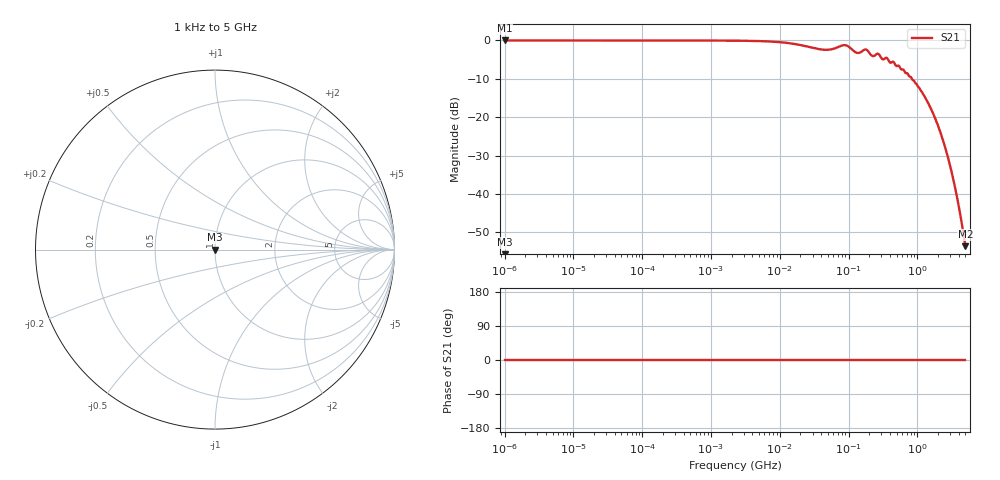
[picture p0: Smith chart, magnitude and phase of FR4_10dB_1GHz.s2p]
! S21 from CSV: mag[dB], phase[deg]; S11=S12=S22=0 (placeholder).
! Edit the script if you need reciprocity or measured S11/S22.
! Auto-generated from 1GHZ_10dB.csv
# Hz S RI R 50
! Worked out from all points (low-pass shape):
!   500 points, 1 kHz to 5 GHz, reference 50 ohm
!   highest |S21| = 0.00 dB at 1 kHz (marker M1); lowest = -53.6 dB at 5 GHz (marker M2)
!   |S21| within 3 dB of the highest: start of sweep to 124.7 MHz; 152 MHz to 196.4 MHz (44.42 MHz wide, 25.5 % of centre)
!   lowest |S11| = - dB at 1 kHz (marker M3), VSWR 1.00, Z = 50 + j0 ohm
!   |S11| at or under -10 dB: start of sweep to end of sweep
!   S12 and S22 are empty: the file has one direction only
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1000  0 0  1 0  0 0  0 0
13417.8  0 0  0.9999 0  0 0  0 0
174558  0 0  0.9993 0  0 0  0 0
2270900  0 0  0.9931 0  0 0  0 0
1.00135e7  0 0  0.9502 0  0 0  0 0
2.9543e7  0 0  0.805 0  0 0  0 0
5.15349e7  0 0  0.757 0  0 0  0 0
8.98974e7  0 0  0.8673 0  0 0  0 0
1.3027e8  0 0  0.6939 0  0 0  0 0
1.77457e8  0 0  0.7627 0  0 0  0 0
2.20326e8  0 0  0.6302 0  0 0  0 0
2.65225e8  0 0  0.6732 0  0 0  0 0
3.09556e8  0 0  0.5721 0  0 0  0 0
3.84337e8  0 0  0.5437 0  0 0  0 0
5.56942e8  0 0  0.4485 0  0 0  0 0
8.58533e8  0 0  0.3046 0  0 0  0 0
1.2441e9  0 0  0.1942 0  0 0  0 0
1.74794e9  0 0  0.1051 0  0 0  0 0
2.30861e9  0 0  0.0535 0  0 0  0 0
3.04911e9  0 0  0.0219 0  0 0  0 0
3.78571e9  0 0  0.00903 0  0 0  0 0
5e9  0 0  0.0021 0  0 0  0 0
